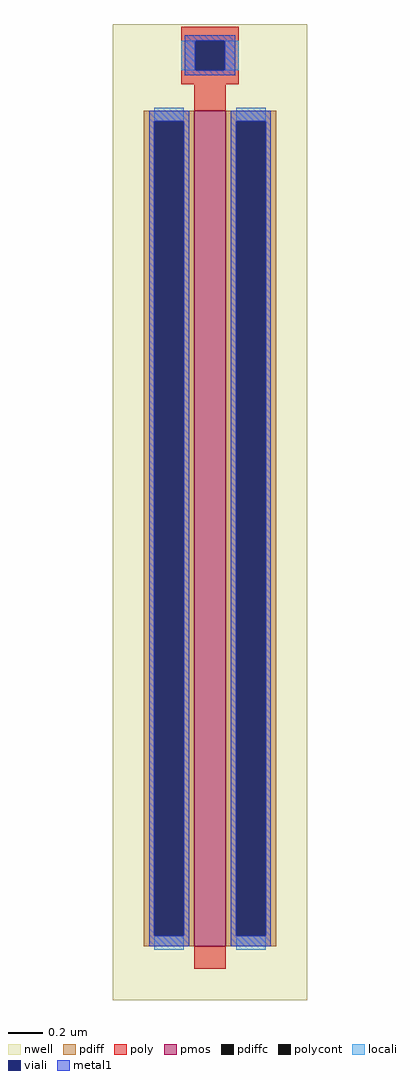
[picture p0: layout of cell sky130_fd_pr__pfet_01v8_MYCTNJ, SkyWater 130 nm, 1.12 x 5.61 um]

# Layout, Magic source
magic
tech sky130A
magscale 1 2
<< nwell >>
rect -112 -578 112 544
<< pmos >>
rect -18 -516 18 444
<< pdiff >>
rect -76 432 -18 444
rect -76 -504 -64 432
rect -30 -504 -18 432
rect -76 -516 -18 -504
rect 18 432 76 444
rect 18 -504 30 432
rect 64 -504 76 432
rect 18 -516 76 -504
<< pdiffc >>
rect -64 -504 -30 432
rect 30 -504 64 432
<< poly >>
rect -33 525 33 541
rect -33 491 -17 525
rect 17 491 33 525
rect -33 475 33 491
rect -18 444 18 475
rect -18 -542 18 -516
<< polycont >>
rect -17 491 17 525
<< locali >>
rect -33 491 -17 525
rect 17 491 33 525
rect -64 432 -30 448
rect -64 -520 -30 -504
rect 30 432 64 448
rect 30 -520 64 -504
<< viali >>
rect -17 491 17 525
rect -64 -504 -30 432
rect 30 -504 64 432
<< metal1 >>
rect -29 525 29 531
rect -29 491 -17 525
rect 17 491 29 525
rect -29 485 29 491
rect -70 432 -24 444
rect -70 -504 -64 432
rect -30 -504 -24 432
rect -70 -516 -24 -504
rect 24 432 70 444
rect 24 -504 30 432
rect 64 -504 70 432
rect 24 -516 70 -504
<< properties >>
string gencell sky130_fd_pr__pfet_01v8
string library sky130
string parameters w 4.8 l 0.18 m 1 nf 1 diffcov 100 polycov 100 guard 0 glc 1 grc 1 gtc 1 gbc 1 tbcov 100 rlcov 100 topc 1 botc 0 poverlap 0 doverlap 1 lmin 0.15 wmin 0.42 compatible {sky130_fd_pr__pfet_01v8  sky130_fd_pr__pfet_01v8_lvt sky130_fd_pr__pfet_01v8_hvt  sky130_fd_pr__pfet_g5v0d10v5} full_metal 1 viasrc 100 viadrn 100 viagate 100 viagb 0 viagr 0 viagl 0 viagt 0
<< end >>
